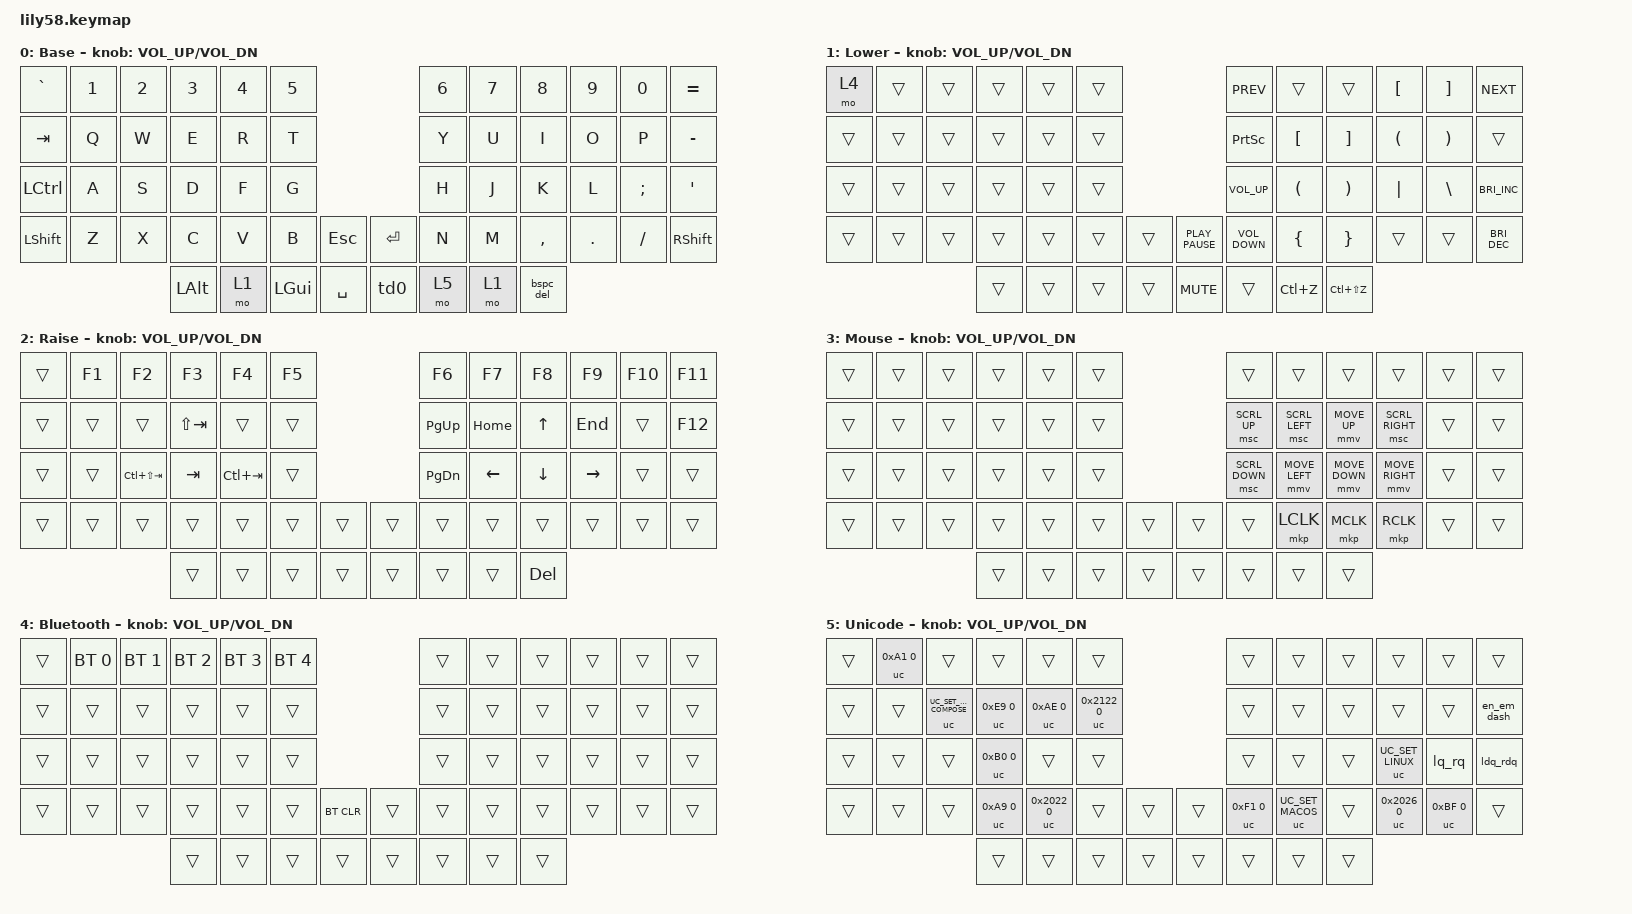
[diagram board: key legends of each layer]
/*
 * Copyright (c) 2020 The ZMK Contributors
 *
 * SPDX-License-Identifier: MIT
 *
 * https://zmk.dev/docs/codes
 */

#include <behaviors.dtsi>
#include <dt-bindings/zmk/keys.h>
#include <dt-bindings/zmk/bt.h>
#include <dt-bindings/zmk/ext_power.h>
/*
https://zmk.dev/docs/behaviors/mouse-emulation
*/
#include <dt-bindings/zmk/pointing.h>
#include <behaviors/unicode.dtsi>

/*
 * Unicode input via urob/zmk-unicode module.
 * Tracking: https://github.com/zmkfirmware/zmk/issues/232
 * See: https://github.com/urob/zmk-unicode
 */
&uc {
  default-mode = <UC_MODE_LINUX>;
};

/* Unicode character aliases */
#define REG     &uc 0xAE 0    /* ® registered trademark */
#define COPYR   &uc 0xA9 0    /* © copyright */
#define TRAD    &uc 0x2122 0  /* ™ trademark */
#define DEG     &uc 0xB0 0    /* ° degree */
#define INVQ    &uc 0xBF 0    /* ¿ inverted question mark */
#define INVE    &uc 0xA1 0    /* ¡ inverted exclamation mark */
#define N_TLD   &uc 0xF1 0    /* ñ n with tilde */
#define E_ACT   &uc 0xE9 0    /* é e with acute */
#define BULLET  &uc 0x2022 0  /* • bullet */
#define ELLIPSIS &uc 0x2026 0 /* … ellipsis */

/ {
    behaviors {
        /*
        https://zmk.dev/docs/behaviors/mod-morph
        */

        bspc_del: backspace_delete {
            compatible = "zmk,behavior-mod-morph";
            #binding-cells = <0>;
            bindings = <&kp BACKSPACE>, <&kp DELETE>;
            mods = <(MOD_LSFT|MOD_RSFT)>;
            keep-mods = <(MOD_RSFT)>;
        };

        // en dash (–) normal, em dash (—) on shift
        en_em_dash: en_em_dash {
            compatible = "zmk,behavior-mod-morph";
            #binding-cells = <0>;
            bindings = <&uc 0x2013 0>, <&uc 0x2014 0>;
            mods = <(MOD_LSFT|MOD_RSFT)>;
        };

        // left single quote (') normal, right single quote (') on shift
        lq_rq: lq_rq {
            compatible = "zmk,behavior-mod-morph";
            #binding-cells = <0>;
            bindings = <&uc 0x2018 0>, <&uc 0x2019 0>;
            mods = <(MOD_LSFT|MOD_RSFT)>;
        };

        // left double quote (") normal, right double quote (") on shift
        ldq_rdq: ldq_rdq {
            compatible = "zmk,behavior-mod-morph";
            #binding-cells = <0>;
            bindings = <&uc 0x201C 0>, <&uc 0x201D 0>;
            mods = <(MOD_LSFT|MOD_RSFT)>;
        };

        /*
        https://zmk.dev/docs/keymaps/behaviors/tap-dance
        */
        td0: momentary_layer_raise_and_mouse {
            compatible = "zmk,behavior-tap-dance";
            #binding-cells = <0>;
            tapping-term-ms = <200>;
            bindings = <&mo 2>, <&mo 3>;
        };
    };

    combos {
        /*
        https://zmk.dev/docs/features/combos

        -------------------------------------------------------------------------
        |  0 |  1 |  2 |  3 |  4 |  5 |           |  6 |  7 |  8 |  9 | 10 | 11 |
        | 12 | 13 | 14 | 15 | 16 | 17 |           | 18 | 19 | 20 | 21 | 22 | 23 |
        | 24 | 25 | 26 | 27 | 28 | 29 |           | 30 | 31 | 32 | 33 | 34 | 35 |
        | 36 | 37 | 38 | 39 | 40 | 41 | 42 | | 43 | 44 | 45 | 46 | 47 | 48 | 49 |
                       | 50 | 51 | 52 | 53 | | 54 | 55 | 56 | 57 |
        */

        compatible = "zmk,combos";

        combo_capsword {
                timeout-ms = <250>;
                key-positions = <36 49 54>;  // LShift, RShift, right thumb (TD0)
                bindings = <&kp CAPSLOCK>;
                layers = <0>;
                require-prior-idle-ms = <0>;
            };

    };

    keymap {
        compatible = "zmk,keymap";

        layer_base {

        /*
                ----------------------------------------------------------------------------------------------------------------------------------------
                |    `    |   1   |  2   |    3    |    4    |   5   |                     |    6     |   7    |    8     |    9   |   0    |     =    |
                |   TAB   |   Q   |  W   |    E    |    R    |   T   |                     |    Y     |   U    |    I     |    O   |   P    |     -    |
                |   CTRL  |   A   |  S   |    D    |    F    |   G   |                     |    H     |   J    |    K     |    L   |   ;    |     '    |
                |  SHIFT  |   Z   |  X   |    C    |    V    |   B   |    ESC   | | ENTER  |    N     |   M    |    ,     |    .   |   /    |   SHIFT  |
                                         |   ALT   |  LOWER  |  MOD  |   SPACE  | |  TD0   |    L5    | LOWER  | BSPC_DEL |
        */

            display-name = "Base";
            bindings = <
                &kp GRAVE  &kp N1  &kp N2  &kp N3    &kp N4    &kp N5                        &kp N6    &kp N7    &kp N8     &kp N9   &kp N0    &kp EQUAL
                &kp TAB    &kp Q   &kp W   &kp E     &kp R     &kp T                         &kp Y     &kp U     &kp I      &kp O    &kp P     &kp MINUS
                &kp LCTRL  &kp A   &kp S   &kp D     &kp F     &kp G                         &kp H     &kp J     &kp K      &kp L    &kp SEMI  &kp SQT
                &kp LSHFT  &kp Z   &kp X   &kp C     &kp V     &kp B    &kp ESC    &kp RET   &kp N     &kp M     &kp COMMA  &kp DOT  &kp FSLH  &kp RSHFT
                                           &kp LALT  &mo 1     &kp LGUI &kp SPACE  &td0      &mo 5     &mo 1     &bspc_del
            >;

            sensor-bindings = <&inc_dec_kp C_VOL_UP C_VOL_DN>;
        };

        layer_lower {

            /*
                -----------------------------------------------------------------------------------------------------------------------------------------------------------------------
                |    L4   |        |        |      |       |      |                          |      PREV        |             |            |     [     |    ]    |       NEXT         |
                |         |        |        |      |       |      |                          |      PSCRN       |      [      |      ]     |           |         |                    |
                |         |        |        |      |       |      |                          |      VOL_UP      |      (      |      )     |     |     |    \    |       BRI_UP       |
                |         |        |        |      |       |      |      | |  PLAY/PAUSE     |      VOL_DN      |      {      |      }     |           |         |       BRI_DN       |
                                            |      |       |      |      | |     MUTE        |                  |     UNDO    |    REDO    |
            */

            display-name = "Lower";
            bindings = <
                &mo 4       &trans  &trans  &trans  &trans  &trans                             &kp K_PREV         &trans      &trans         &kp LBKT   &kp RBKT   &kp K_NEXT
                &trans      &trans  &trans  &trans  &trans  &trans                             &kp PSCRN          &kp LBKT    &kp RBKT       &kp LPAR   &kp RPAR   &trans
                &trans      &trans  &trans  &trans  &trans  &trans                             &kp K_VOLUME_UP    &kp LPAR    &kp RPAR       &kp PIPE   &kp BSLH   &kp C_BRIGHTNESS_INC
                &trans      &trans  &trans  &trans  &trans  &trans  &trans   &kp K_PLAY_PAUSE  &kp K_VOLUME_DOWN  &kp LBRC    &kp RBRC       &trans     &trans     &kp C_BRIGHTNESS_DEC
                                            &trans  &trans  &trans  &trans   &kp K_MUTE        &trans             &kp LC(Z)   &kp LC(LS(Z)) 
            >;

            sensor-bindings = <&inc_dec_kp C_VOL_UP C_VOL_DN>;
        };

        layer_raise {

            /*
                Holding LCtrl with LC(LS(TAB)) and LC(TAB) in VSCode keeps the tab switcher open.
                Reminder that we can also hold LCtrl with PAGE_UP and PAGE_DOWN to switch tabs.

                --------------------------------------------------------------------------------------------------------------------------------------------------------
                |      |   F1   |      F2      |     F3     |     F4     |   F5   |                  |     F6      |   F7     |    F8     |    F9    |   F10   |  F11  |
                |      |        |    LS+TAB    |            |            |        |                  |    P_UP     |   HOME   |    ^      |    END   |         |  F12  |
                |      |        |   LS+LC+TAB  |    TAB     |   LC+TAB   |        |                  |   P_DOWN    |    <-    |    v      |    ->    |         |       |
                |      |        |              |            |            |        |       |  |       |             |          |           |          |         |       |
                                               |            |            |        |       |  |       |             |          |   DEL     |
            */

            display-name = "Raise";
            bindings = <
                &trans  &kp F1  &kp F2           &kp F3       &kp F4       &kp F5                     &kp F6         &kp F7     &kp F8      &kp F9     &kp F10  &kp F11
                &trans  &trans  &trans           &kp LS(TAB)  &trans       &trans                     &kp PAGE_UP    &kp HOME   &kp UP      &kp END    &trans   &kp F12
                &trans  &trans  &kp LC(LS(TAB))  &kp TAB      &kp LC(TAB)  &trans                     &kp PAGE_DOWN  &kp LEFT   &kp DOWN    &kp RIGHT  &trans   &trans
                &trans  &trans  &trans           &trans       &trans       &trans   &trans    &trans  &trans         &trans     &trans      &trans     &trans   &trans
                                                 &trans       &trans       &trans   &trans    &trans  &trans         &trans     &kp DELETE
            >;

            sensor-bindings = <&inc_dec_kp C_VOL_UP C_VOL_DN>;
        };

        layer_mouse {
            /*
            ---------------------------------------------------------------------------------------------------------------------------------------------------------
            |         |        |       |        |        |       |                 |               |               |               |                |       |       |
            |         |        |       |        |        |       |                 |    M_SC_UP    |     M_SC_LT   |     M_UP      |     M_SC_RT    |       |       |
            |         |        |       |        |        |       |                 |    M_SC_DN    |      M_LT     |     M_DN      |      M_RT      |       |       |
            |         |        |       |        |        |       |       | |       |               |      M_LC     |     M_MC      |      M_RC      |       |       |
                                       |        |        |       |       | |       |               |               |               |                |
            */

            display-name = "Mouse";
            bindings = <
                &trans  &trans  &trans  &trans    &trans  &trans                     &trans          &trans          &trans          &trans           &trans  &trans
                &trans  &trans  &trans  &trans    &trans  &trans                     &msc SCRL_UP    &msc SCRL_LEFT  &mmv MOVE_UP    &msc SCRL_RIGHT  &trans  &trans
                &trans  &trans  &trans  &trans    &trans  &trans                     &msc SCRL_DOWN  &mmv MOVE_LEFT  &mmv MOVE_DOWN  &mmv MOVE_RIGHT  &trans  &trans
                &trans  &trans  &trans  &trans    &trans  &trans   &trans    &trans  &trans          &mkp LCLK       &mkp MCLK       &mkp RCLK        &trans  &trans
                                        &trans    &trans  &trans   &trans    &trans  &trans          &trans          &trans
            >;

            sensor-bindings = <&inc_dec_kp C_VOL_UP C_VOL_DN>;
        };

        layer_bluetooth {

            /*
                -------------------------------------------------------------------------------------------------------------------------------------------------
                |     |      BT1     |     BT2    |     BT3     |      BT4     |     BT5    |                   |       |       |       |       |       |       |
                |     |              |            |             |              |            |                   |       |       |       |       |       |       |
                |     |              |            |             |              |            |                   |       |       |       |       |       |       |
                |     |              |            |             |              |            |  BTCLR  |  |      |       |       |       |       |       |       |
                                                  |             |              |            |         |  |      |       |       |       |
          */

            display-name = "Bluetooth";
            bindings = <
                &trans  &bt BT_SEL 0  &bt BT_SEL 1  &bt BT_SEL 2  &bt BT_SEL 3  &bt BT_SEL 4                      &trans  &trans  &trans  &trans  &trans  &trans
                &trans  &trans        &trans        &trans        &trans        &trans                            &trans  &trans  &trans  &trans  &trans  &trans
                &trans  &trans        &trans        &trans        &trans        &trans                            &trans  &trans  &trans  &trans  &trans  &trans
                &trans  &trans        &trans        &trans        &trans        &trans        &bt BT_CLR  &trans  &trans  &trans  &trans  &trans  &trans  &trans
                                                    &trans        &trans        &trans        &trans      &trans  &trans  &trans  &trans
            >;

            sensor-bindings = <&inc_dec_kp C_VOL_UP C_VOL_DN>;
        };

        layer_unicode {
            /*
            ----------------------------------------------------------------------------------------------------------------------------
            |         |    ¡   |        |         |        |        |                 |        |      |        |      |       |         |
            |         |        |   W    |    é    |    ®   |    ™   |                 |        |      |        |      |       |  – / —  |
            |         |        |        |    °    |        |        |                 |        |      |        |   L  |   "   |         |
            |         |        |        |     ©   |    •   |        |       | |       |   ñ    |  M   |        |   …  |   ¿   |         |
                               |        |         |        |        |       | |       |        |      |        |
            // M = Mac, W = Windows, L = Linux
            */

            display-name = "Unicode";
            bindings = <
                &trans  INVE    &trans    &trans    &trans  &trans                     &trans  &trans  &trans  &trans  &trans  &trans
                &trans  &trans  &uc UC_SET_WIN_COMPOSE  E_ACT     REG     TRAD                       &trans  &trans  &trans  &trans  &trans  &en_em_dash
                &trans  &trans  &trans    DEG       &trans  &trans                     &trans  &trans  &trans  &uc UC_SET_LINUX  &lq_rq  &ldq_rdq
                &trans  &trans  &trans    COPYR     BULLET  &trans   &trans    &trans  N_TLD   &uc UC_SET_MACOS  &trans  ELLIPSIS  INVQ  &trans
                                          &trans    &trans  &trans   &trans    &trans  &trans  &trans          &trans
            >;

            sensor-bindings = <&inc_dec_kp C_VOL_UP C_VOL_DN>;
        };
    };
};
